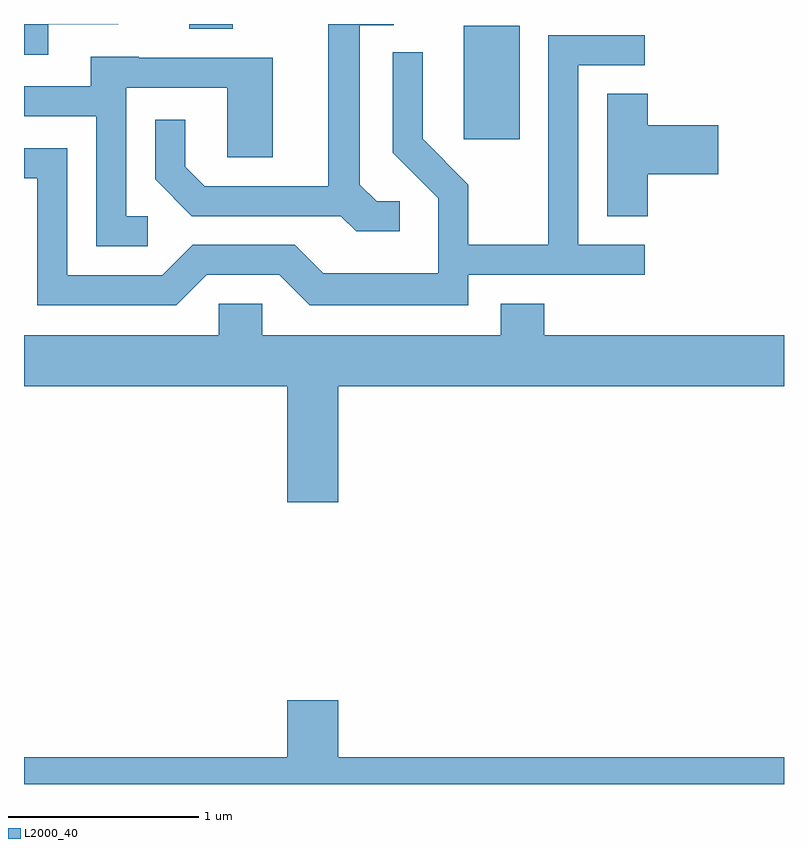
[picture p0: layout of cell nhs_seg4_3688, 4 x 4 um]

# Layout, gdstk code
import gdstk
lib = gdstk.Library(unit=1e-6, precision=1e-09)
def R(c, l, rs):  # rectangles x0, y0, x1, y1
    for r in rs: c.add(gdstk.rectangle(r[:2], r[2:], *l))
def P(c, l, *ps):  # polygons
    for p in ps: c.add(gdstk.Polygon(p, *l))
L2000_40 = (2000, 40)

nhs_seg4_3688 = lib.new_cell('nhs_seg4_3688')
R(nhs_seg4_3688, L2000_40, [(295.926,1289.376,296.219,1289.974), (294.481,1289.956,294.709,1289.982)])
P(nhs_seg4_3688, L2000_40, [(293.739,1289.981),(294.108,1289.981),(294.108,1289.982),(293.611,1289.982),(293.611,1289.821),(293.739,1289.821)],
  [(295.588,1289.049),(295.467,1289.049),(295.379,1289.137),(295.379,1289.976),(295.558,1289.976),(295.558,1289.982),(295.211,1289.982),(295.211,1289.129),(294.562,1289.129),(294.459,1289.232),(294.459,1289.478),(294.301,1289.478),(294.301,1289.164),(294.494,1288.971),(295.279,1288.971),(295.359,1288.891),(295.588,1288.891)],
  [(294.572,1288.661),(294.954,1288.661),(295.114,1288.501),(295.949,1288.501),(295.949,1288.661),(296.878,1288.661),(296.878,1288.819),(296.529,1288.819),(296.529,1289.766),(296.878,1289.766),(296.878,1289.924),(296.371,1289.924),(296.371,1288.819),(295.949,1288.819),(295.949,1289.137),(295.709,1289.377),(295.709,1289.833),(295.551,1289.833),(295.551,1289.304),(295.791,1289.064),(295.791,1288.669),(295.187,1288.669),(295.037,1288.819),(294.499,1288.819),(294.339,1288.659),(293.839,1288.659),(293.839,1289.329),(293.611,1289.329),(293.611,1289.171),(293.681,1289.171),(293.681,1288.501),(294.412,1288.501)],
  [(294.263,1288.969),(294.149,1288.969),(294.149,1289.646),(294.681,1289.646),(294.681,1289.281),(294.919,1289.281),(294.919,1289.804),(294.215,1289.804),(294.215,1289.809),(293.961,1289.809),(293.961,1289.654),(293.611,1289.654),(293.611,1289.496),(293.991,1289.496),(293.991,1288.811),(294.263,1288.811)],
  [(296.894,1289.191),(297.264,1289.191),(297.264,1289.449),(296.894,1289.449),(296.894,1289.614),(296.681,1289.614),(296.681,1288.971),(296.894,1288.971)],
  [(295.264,1288.076),(297.611,1288.076),(297.611,1288.344),(296.349,1288.344),(296.349,1288.509),(296.121,1288.509),(296.121,1288.344),(294.864,1288.344),(294.864,1288.509),(294.636,1288.509),(294.636,1288.344),(293.611,1288.344),(293.611,1288.076),(294.996,1288.076),(294.996,1287.466),(295.264,1287.466)],
  [(297.611,1286.124),(295.264,1286.124),(295.264,1286.424),(294.996,1286.424),(294.996,1286.124),(293.611,1286.124),(293.611,1285.982),(297.611,1285.982)])

lib.write_gds('nhs_seg4_3688.gds')
